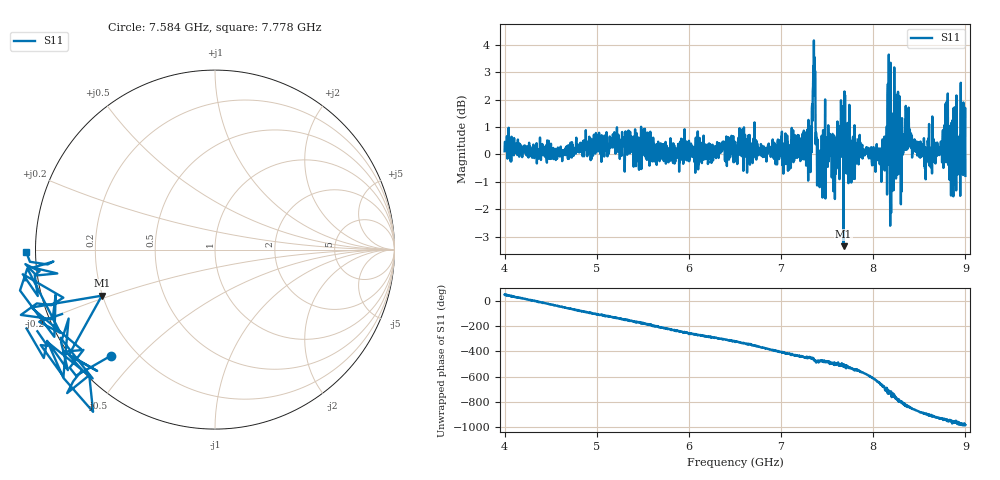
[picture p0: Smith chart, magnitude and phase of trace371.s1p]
! Created with skrf 1.8.0 (http://scikit-rf.org).
# Hz S RI R 50.0
!freq ReS11 ImS11
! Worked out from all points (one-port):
!   1601 points, 4 GHz to 9 GHz, reference 50 ohm
!   lowest |S11| = -3.3 dB at 7.678 GHz (marker M1), VSWR 5.26, Z = 9.85 - j9.42 ohm
!   |S11| at or under -10 dB: nowhere
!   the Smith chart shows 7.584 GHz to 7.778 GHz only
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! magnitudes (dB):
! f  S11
! 4 GHz  0.1
! 4.625 GHz  -0.2
! 5.25 GHz  -0.2
! 5.875 GHz  0.0
! 6.5 GHz  0.4
! 7.125 GHz  0.3
! 7.297 GHz  1.3
! 7.347 GHz  2.5
! 7.359 GHz  2.7
! 7.4 GHz  -0.1
! 7.425 GHz  -0.5
! 7.503 GHz  -0.1
! 7.575 GHz  0.7
! 7.628 GHz  0.5
! 7.678 GHz  -3.3
! 7.75 GHz  0.1
! 8.106 GHz  -0.1
! 8.162 GHz  -0.1
! 8.197 GHz  0.4
! 8.253 GHz  0.8
! 8.312 GHz  1.3
! 8.375 GHz  0.8
! 8.556 GHz  -0.4
! 8.738 GHz  0.1
! 8.8 GHz  1.2
! 8.875 GHz  0.8
! 8.972 GHz  -0.4
! 9 GHz  -0.8
